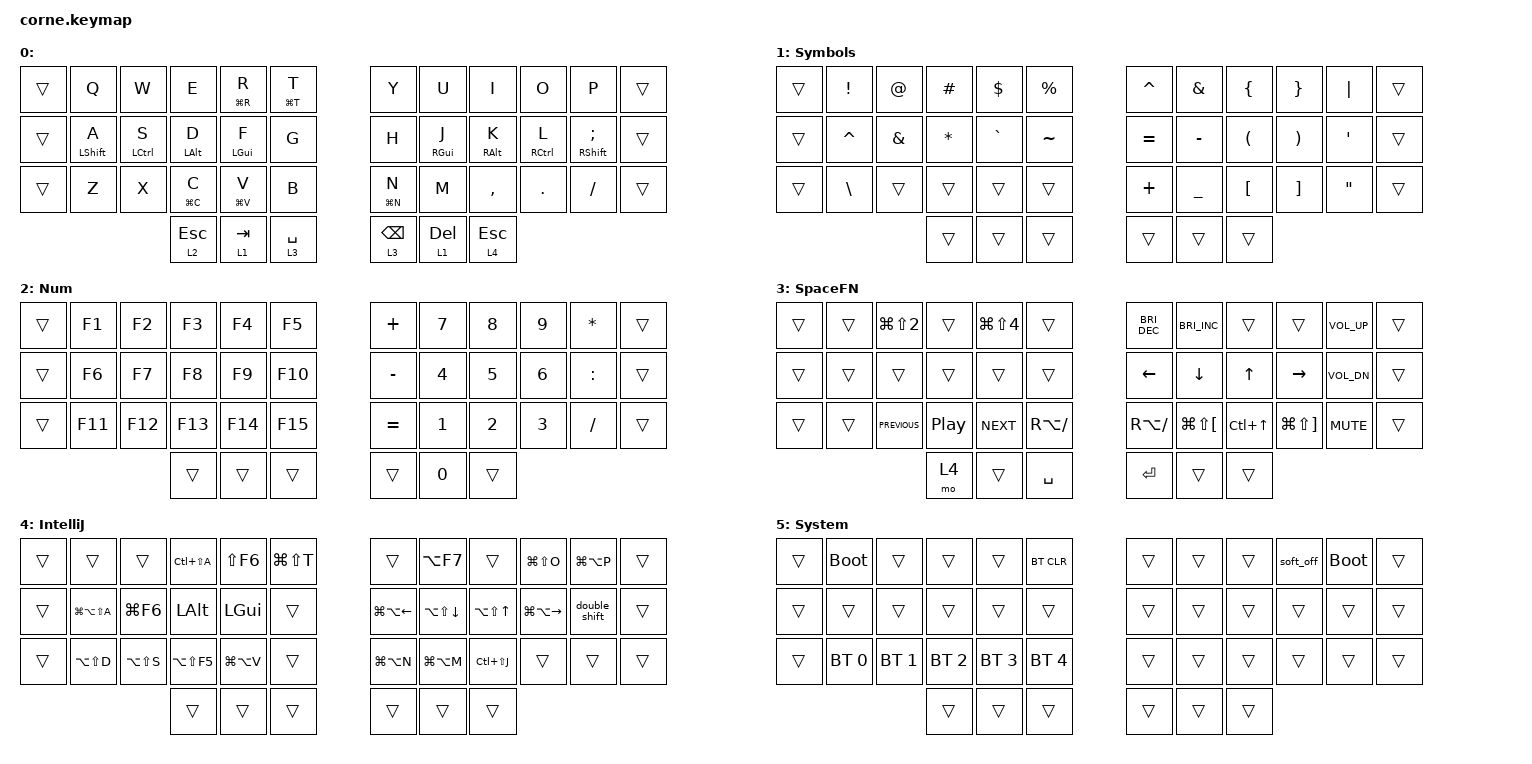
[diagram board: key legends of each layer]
/*
 * Copyright (c) 2020 The ZMK Contributors
 *
 * SPDX-License-Identifier: MIT
 */

#include <behaviors.dtsi>
#include <dt-bindings/zmk/bt.h>
#include <dt-bindings/zmk/keys.h>

&lt {
    tapping-term-ms = <280>;
    quick-tap-ms = <200>;
    flavor = "hold-preferred";
};

/ {
    behaviors {
        lp: lp {
            compatible = "zmk,behavior-hold-tap";
            label = "lp";
            bindings = <&kp>, <&kp>;

            #binding-cells = <2>;
            tapping-term-ms = <280>;
            flavor = "tap-preferred";
        };

        hml: hml {
            compatible = "zmk,behavior-hold-tap";
            label = "HML";
            bindings = <&kp>, <&kp>;

            #binding-cells = <2>;
            tapping-term-ms = <280>;
            flavor = "tap-preferred";
            hold-trigger-on-release;
            hold-trigger-key-positions = <6 7 8 9 10 11 18 19 20 21 22 23 30 31 32 33 34 35 39 40 41>;
            quick-tap-ms = <200>;
            require-prior-idle-ms = <125>;
        };

        hmr: hmr {
            compatible = "zmk,behavior-hold-tap";
            label = "HMR";
            bindings = <&kp>, <&kp>;

            #binding-cells = <2>;
            tapping-term-ms = <280>;
            flavor = "tap-preferred";
            hold-trigger-on-release;
            hold-trigger-key-positions = <0 1 2 3 4 5 12 13 14 15 16 17 24 25 26 27 28 29 36 37 38>;
            quick-tap-ms = <200>;
            require-prior-idle-ms = <125>;
        };
    };

    macros {
        double_shift: double_shift {
            compatible = "zmk,behavior-macro";
            #binding-cells = <0>;
            bindings = <&kp LEFT_SHIFT &kp LEFT_SHIFT>;
            label = "DOUBLE_SHIFT";
            wait-ms = <40>;
            tap-ms = <40>;
        };
    };

    combos {
        compatible = "zmk,combos";

        LSys {
            bindings = <&mo 5>;
            key-positions = <36 37 38>;
        };

        RSys {
            bindings = <&mo 5>;
            key-positions = <39 40 41>;
        };

        LIJ {
            bindings = <&mo 4>;
            key-positions = <36 38>;
        };

        RIJ {
            bindings = <&mo 4>;
            key-positions = <39 41>;
        };
    };

    keymap {
        compatible = "zmk,keymap";

        base_layer {
            // -----------------------------------------------------------------------------------------
            // |  TAB |  Q  |  W  |  E  |  R  |  T  |   |  Y  |  U   |  I  |  O  |  P  | BKSP |
            // | CTRL |  A  |  S  |  D  |  F  |  G  |   |  H  |  J   |  K  |  L  |  ;  |  '   |
            // | SHFT |  Z  |  X  |  C  |  V  |  B  |   |  N  |  M   |  ,  |  .  |  /  | ESC  |
            //                    | GUI | LWR | SPC |   | ENT | RSE  | ALT |

            display-name = "";
            bindings = <
&trans  &kp Q         &kp W         &kp E         &lp LG(R) R  &lp LG(T) T    &kp Y            &kp U        &kp I         &kp O         &kp P            &trans
&trans  &hml LSHFT A  &hml LCTRL S  &hml LALT D   &hml LGUI F  &kp G          &kp H            &hmr RGUI J  &hmr RALT K   &hmr RCTRL L  &hmr RSHFT SEMI  &trans
&trans  &kp Z         &kp X         &lp LG(C) C   &lp LG(V) V  &kp B          &lp LG(N) N      &kp M        &kp COMMA     &kp DOT       &kp FSLH         &trans
                                    &lt 2 ESCAPE  &lt 1 TAB    &lt 3 SPACE    &lt 3 BACKSPACE  &lt 1 DEL    &lt 4 ESCAPE
            >;

            label = "Base";
        };

        sym_layer {
            // -----------------------------------------------------------------------------------------
            // |  TAB |  !  |  @  |  #  |  $  |  %  |   |  ^  |  &  |  *  |  (  |  )  | BKSP |
            // | CTRL |     |     |     |     |     |   |  -  |  =  |  [  |  ]  |  \  |  `   |
            // | SHFT |     |     |     |     |     |   |  _  |  +  |  {  |  }  | "|" |  ~   |
            //                    | GUI |     | SPC |   | ENT |     | ALT |

            bindings = <
&trans  &kp EXCL       &kp AT    &kp HASH      &kp DOLLAR  &kp PERCENT    &kp CARET  &kp AMPS        &kp LEFT_BRACE        &kp RIGHT_BRACE        &kp PIPE           &trans
&trans  &kp CARET      &kp AMPS  &kp ASTERISK  &kp GRAVE   &kp TILDE      &kp EQUAL  &kp MINUS       &kp LEFT_PARENTHESIS  &kp RIGHT_PARENTHESIS  &kp SQT            &trans
&trans  &kp BACKSLASH  &trans    &trans        &trans      &trans         &kp PLUS   &kp UNDERSCORE  &kp LEFT_BRACKET      &kp RIGHT_BRACKET      &kp DOUBLE_QUOTES  &trans
                                 &trans        &trans      &trans         &trans     &trans          &trans
            >;

            label = "Symbols";
        };

        num_layer {
            // -----------------------------------------------------------------------------------------
            // |  TAB |  1  |  2  |  3  |  4  |  5  |   |  6  |  7  |  8  |  9  |  0  | BKSP |
            // | BTCLR| BT1 | BT2 | BT3 | BT4 | BT5 |   | LFT | DWN |  UP | RGT |     |      |
            // | SHFT |     |     |     |     |     |   |     |     |     |     |     |      |
            //                    | GUI |     | SPC |   | ENT |     | ALT |

            bindings = <
&trans  &kp F1   &kp F2   &kp F3   &kp F4   &kp F5     &kp PLUS   &kp N7        &kp N8  &kp N9  &kp ASTRK  &trans
&trans  &kp F6   &kp F7   &kp F8   &kp F9   &kp F10    &kp MINUS  &kp NUMBER_4  &kp N5  &kp N6  &kp COLON  &trans
&trans  &kp F11  &kp F12  &kp F13  &kp F14  &kp F15    &kp EQUAL  &kp N1        &kp N2  &kp N3  &kp SLASH  &trans
                          &trans   &trans   &trans     &trans     &kp N0        &trans
            >;

            label = "Num";
        };

        sfn_layer {
            bindings = <
&trans  &trans  &kp LG(LS(NUMBER_2))  &trans    &kp LG(LS(NUMBER_4))  &trans           &kp C_BRIGHTNESS_DEC  &kp C_BRIGHTNESS_INC      &trans            &trans                     &kp C_VOL_UP  &trans
&trans  &trans  &trans                &trans    &trans                &trans           &kp LEFT              &kp DOWN                  &kp UP            &kp RIGHT                  &kp C_VOL_DN  &trans
&trans  &trans  &kp C_PREVIOUS        &kp C_PP  &kp C_NEXT            &kp RA(SLASH)    &kp RA(SLASH)         &kp LG(LS(LEFT_BRACKET))  &kp LC(UP_ARROW)  &kp LG(LS(RIGHT_BRACKET))  &kp C_MUTE    &trans
                                      &mo 4     &trans                &kp SPACE        &kp ENTER             &trans                    &trans
            >;

            label = "SpaceFN";
        };

        ij_layer {
            bindings = <
&trans  &trans             &trans         &kp LC(LS(A))   &kp LS(F6)     &kp LG(LS(T))    &trans                  &kp LA(F7)        &trans                &kp LG(LS(O))            &kp LG(LA(P))  &trans
&trans  &kp LG(LA(LS(A)))  &kp LG(F6)     &kp LALT        &kp LGUI       &trans           &kp LG(LA(LEFT_ARROW))  &kp LA(LS(DOWN))  &kp LA(LS(UP_ARROW))  &kp LG(LA(RIGHT_ARROW))  &double_shift  &trans
&trans  &kp LA(LS(D))      &kp LA(LS(S))  &kp LA(LS(F5))  &kp LG(LA(V))  &trans           &kp LG(LA(N))           &kp LG(LA(M))     &kp LC(LS(J))         &trans                   &trans         &trans
                                          &trans          &trans         &trans           &trans                  &trans            &trans
            >;

            label = "IntelliJ";
        };

        sys_layer {
            bindings = <
&trans  &bootloader   &trans        &trans        &trans        &bt BT_CLR      &trans  &trans  &trans  &soft_off  &bootloader  &trans
&trans  &trans        &trans        &trans        &trans        &trans          &trans  &trans  &trans  &trans     &trans       &trans
&trans  &bt BT_SEL 0  &bt BT_SEL 1  &bt BT_SEL 2  &bt BT_SEL 3  &bt BT_SEL 4    &trans  &trans  &trans  &trans     &trans       &trans
                                    &trans        &trans        &trans          &trans  &trans  &trans
            >;

            label = "System";
        };
    };
};
